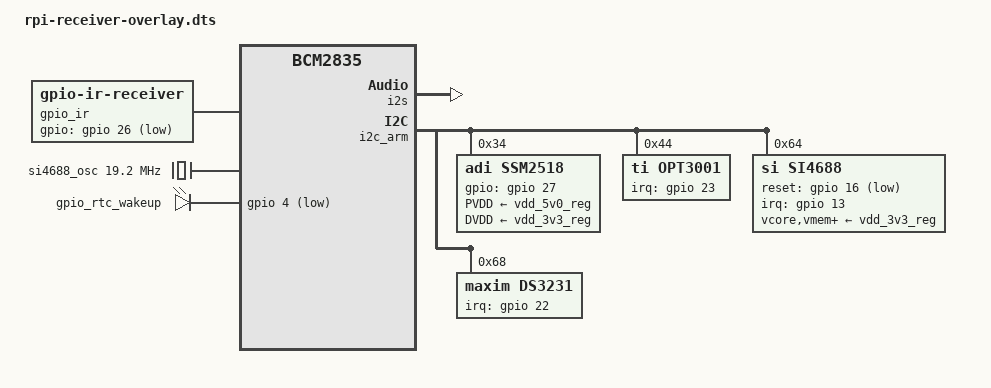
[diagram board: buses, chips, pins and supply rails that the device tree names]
/*
* Definitions for Raspberry Receiver
*/
/dts-v1/;
/plugin/;

/ {
	compatible = "brcm,bcm2708", "brcm,bcm2709", "brcm,bcm2835";

	fragment@0 {
		target = <&i2s>;
		__overlay__ {
			status = "okay"; /* device is enabled */
		};
	};

	fragment@1 {
		target = <&gpio>;
		__overlay__ {
			status = "okay"; /* device is enabled */
			ssm2518_pins: ssm2518_pins {
				brcm,pins = <27>; /* gpio no. */
				brcm,function = <1>; /* 0:in, 1:out */
				brcm,pull = <1>; /* 2:up 1:down 0:none */
			};
			si468x_pins: si468x_pins {
				brcm,pins = <16>; /* gpio no. */
				brcm,function = <1>; /* 0:in, 1:out */
				brcm,pull = <0>; /* 2:up 1:down 0:none */
			};
			gpio_rtc_pins: gpio_rtc_pins {
				brcm,pins = <4 22>;
				brcm,function = <1 0>;
				brcm,pull = <2 2>; // 2:up 1:down 0:none
			};
			gpio_ir_pins: gpio_ir_pins {
				brcm,pins = <26>;
				brcm,function = <0>; // in
				brcm,pull = <2>; // up
			};
		};
	};

	fragment@2 {
		target = <&leds>;
		__overlay__ {
			gpio_rtc_wakeup: gpio_rtc_wakeup {
				compatible = "gpio-leds";
				gpios = <&gpio 4 1>; /* GPIO_ACTIVE_HIGH 0, GPIO_ACTIVE_LOW 1 */
				default-state = "on";
				status = "okay";
			};
		};
	};

	fragment@3 {
		target = <&i2c_arm>;
		__overlay__ {
			#address-cells = <1>;
			#size-cells = <0>;
			/* clock-frequency = <1000000>; */
			status = "okay"; /* device is enabled */
			ssm2518: ssm2518@34 {
				#sound-dai-cells = <0>;
				compatible = "adi,ssm2518";
				reg = <0x34>;
				pinctrl-names = "default";
				pinctrl-0 = <&ssm2518_pins>;
				gpios = <&gpio 27 0>; /* GPIO_ACTIVE_HIGH for ssm2518*/
				PVDD-supply = <&vdd_5v0_reg>;
				DVDD-supply = <&vdd_3v3_reg>;
				status = "okay"; /* device is enabled */
			};
			opt3001@44 {
				compatible = "ti,opt3001";
				reg = <0x44>;
				interrupt-parent = <&gpio>;
				interrupts = <23 2>; /* falling edge */
				status = "okay"; /* device is enabled */
			};
			si4688: si4688@64 {
				#sound-dai-cells = <0>;
				compatible = "si,si4688";
				reg = <0x64>;
				pinctrl-names = "default";
				pinctrl-0 = <&si468x_pins>;
				reset-gpios = <&gpio 16 1>; /* GPIO_ACTIVE_LOW for si468x*/
				interrupt-parent = <&gpio>;
				interrupts = <13 2>; /* falling edge */
				vcore-supply = <&vdd_3v3_reg>;
				vmem-supply = <&vdd_3v3_reg>;
				va-supply = <&vdd_3v3_reg>;
				vio-supply = <&vdd_3v3_reg>;
				clock-mode = <1>; /* SI468X_XMODE_CRYSTAL */
				clocks = <&si4688_osc>;
				clock-ibias = <70>; /* for 5*70Ohm -> 700uA */
				clock-ctun = <31>;
				fm_tune_fe_varm = /bits/ 16 <0x8600>;
				fm_tune_fe_varb = /bits/ 16 <0x00c9>;
				fm_tune_fe_cfg = /bits/ 16 <1>;
				dab_tune_fe_varm = /bits/ 16 <0xfe3e>;
				dab_tune_fe_varb = /bits/ 16 <0x005e>;
				dab_tune_fe_cfg = /bits/ 16 <0>;
				/* firmware-am = "si468x/amhd_radio_3_0_6.bif"; */
				/* firmware-fm = "si468x/fmhd_radio_5_1_0.bin"; */
				/* firmware-dab = "si468x/dab_radio_5_0_8.bin"; */
				firmware-mini = "si468x/rom00_patch_mini.bin";
				/* firmware-patch = "si468x/rom00_patch.016.bin"; */
				flash-am = <0x0011E000>;
				flash-fm = <0x00006000>;
				flash-dab = <0x00092000>;
				/* flash-mini = <0x00002000>; */
				flash-patch = <0x00004000>;
				status = "okay"; /* device is enabled */
			};
			ds3231: ds3231@68 {
				compatible = "maxim,ds3231";
				reg = <0x68>;
				pinctrl-names = "default";
				pinctrl-0 = <&gpio_rtc_pins>;
				interrupt-parent = <&gpio>;
				interrupts = <22 2>; /* falling edge */
				wakeup-source;
				status = "okay";
			};
		};
	};

	fragment@4 {
		target = <&sound>;
		__overlay__ {
			compatible = "simple-audio-card";
			simple-audio-card,name = "rpiReceiver";
			simple-audio-card,widgets = "Speaker", "Speaker Out",
							"Line", "In Tuner";
			simple-audio-card,routing = "Speaker Out", "OUTL",
							"Speaker Out", "OUTR",
							"In Tuner", "ROUT",
							"In Tuner", "LOUT";
			status = "okay"; /* device is enabled */
			simple-audio-card,dai-link@0 { /* I2S -> si4688 */
				format = "i2s";
				cpu {
					sound-dai = <&i2s 0>;
				};
				codec {
					sound-dai = <&si4688 0>;
				};
			};
			simple-audio-card,dai-link@1 { /* I2S -> ssm2518 */
				format = "i2s";
				cpu {
					sound-dai = <&i2s 0>;
				};
				codec {
					sound-dai = <&ssm2518 0>;
				};
			};
		};
	};

	fragment@5 {
		target-path = "/";
		__overlay__ {
			gpio_ir: ir-receiver {
				compatible = "gpio-ir-receiver";
				pinctrl-names = "default";
				pinctrl-0 = <&gpio_ir_pins>;
				gpios = <&gpio 26 1>;
				status = "okay";
			};
			si4688_osc: si4688_osc {
				compatible = "fixed-clock";
				#clock-cells = <0>;
				clock-frequency  = <19200000>;
			};
		};
	};
};
